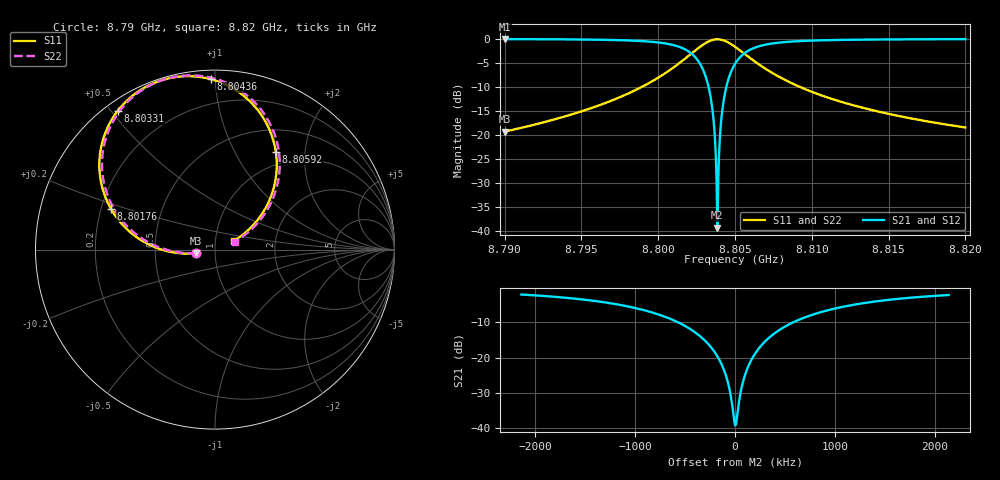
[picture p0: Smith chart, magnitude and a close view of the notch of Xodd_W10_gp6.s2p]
! Sonnet Data File
! From: emgraph Version : 16.52
! From Project: Qubit_Xmon2
! Data is De-embedded
! Data File Written: 10/18/2017 10:22:27
!< HDATE 10/18/2017 09:13:04
!< MDATE 10/18/2017 09:13:04
!< PARAMS
!< Lj = 11.0
!< Gap = 6.0
!< Pwid = 2000.0
!< Airgap = 6.0
!< Width = 10.0
!< END PARAMS
# GHZ S MA R 34.60000
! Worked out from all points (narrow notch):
!   3001 points, 8.79 GHz to 8.82 GHz, reference 34.6 ohm
!   highest |S21| = -0.05 dB at 8.79 GHz (marker M1); lowest = -39.3 dB at 8.80385 GHz (marker M2)
!   notch at M2: 39.0 dB deep, 357 kHz wide at half that depth
!   lowest |S11| = -19.3 dB at 8.79 GHz (marker M3), VSWR 1.24, Z = 27.9 - j1.16 ohm
!   |S11| at or under -10 dB: start of sweep to 8.798934 GHz; 8.809223 GHz to end of sweep
!   |S22| runs from -19.3 to -0.1 dB; largest |S21 - S12| = 0
!   S11 on the Smith chart (normalised r, x): 8.79 GHz: 0.81, -0.03; 8.80176 GHz: 0.24, +0.18; 8.80331 GHz: 0.04, +0.52; 8.80436 GHz: 0.05, +0.97; 8.80592 GHz: 0.80, +1.48; 8.82 GHz: 1.24, +0.13
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8.79  0.1085 -169.1  0.9939 -79.4  0.9939 -79.4  0.1085 -169.8
!< P1 F=8.79 Eeff=(5.1373841 -5.7056e-5) Z0=(34.640405 -9.7526e-5) R=0.0 C=0.0
!< P2 F=8.79 Eeff=(5.1373841 -5.7056e-5) Z0=(34.640405 -9.7526e-5) R=0.0 C=0.0
8.795  0.1761 -172.9  0.984 -83.3  0.984 -83.3  0.1761 -174.0
8.79788  0.2625 -177.9  0.9641 -88.4  0.9641 -88.4  0.2625 -179.3
8.8  0.3944 174.0  0.917 -96.5  0.917 -96.5  0.3944 172.5
8.80176  0.6238 158.5  0.776 -111.8  0.776 -111.8  0.6238 156.8
8.80271  0.823 141.3  0.5547 -128.6  0.5547 -128.6  0.823 139.6
8.80331  0.9434 125.2  0.3009 -143.8  0.3009 -143.8  0.9434 123.3
8.80356  0.9753 117.3  0.1679 -150.0  0.1679 -150.0  0.9753 115.5
8.80365  0.9825 114.4  0.1174 -151.3  0.1174 -151.3  0.9825 112.5
8.80375  0.9875 111.1  0.06072 -149.7  0.06072 -149.7  0.9875 109.3
8.80385  0.9893 107.8  0.01089 -84.2  0.01089 -84.2  0.9893 106.0
8.80395  0.9878 104.5  0.05652 2.7  0.05652 2.7  0.9878 102.6
8.80406  0.9824 100.9  0.1186 4.9  0.1186 4.9  0.9824 99.0
8.80414  0.9762 98.3  0.1631 3.7  0.1631 3.7  0.9762 96.4
8.80436  0.95 91.5  0.2797 -1.6  0.2797 -1.6  0.95 89.6
8.80464  0.902 83.4  0.4113 -8.9  0.4113 -8.9  0.9019 81.5
8.805  0.8275 74.5  0.5483 -17.4  0.5483 -17.4  0.8275 72.5
8.80592  0.6421 58.2  0.761 -33.3  0.761 -33.3  0.6421 56.2
8.80755  0.4305 43.6  0.9005 -47.8  0.9005 -47.8  0.4305 41.4
8.81  0.2813 34.3  0.9588 -57.0  0.9588 -57.0  0.2813 32.1
8.815  0.1659 27.6  0.9859 -63.8  0.9859 -63.8  0.1659 25.0
8.82  0.1198 25.0  0.9927 -66.5  0.9927 -66.5  0.1198 22.1
